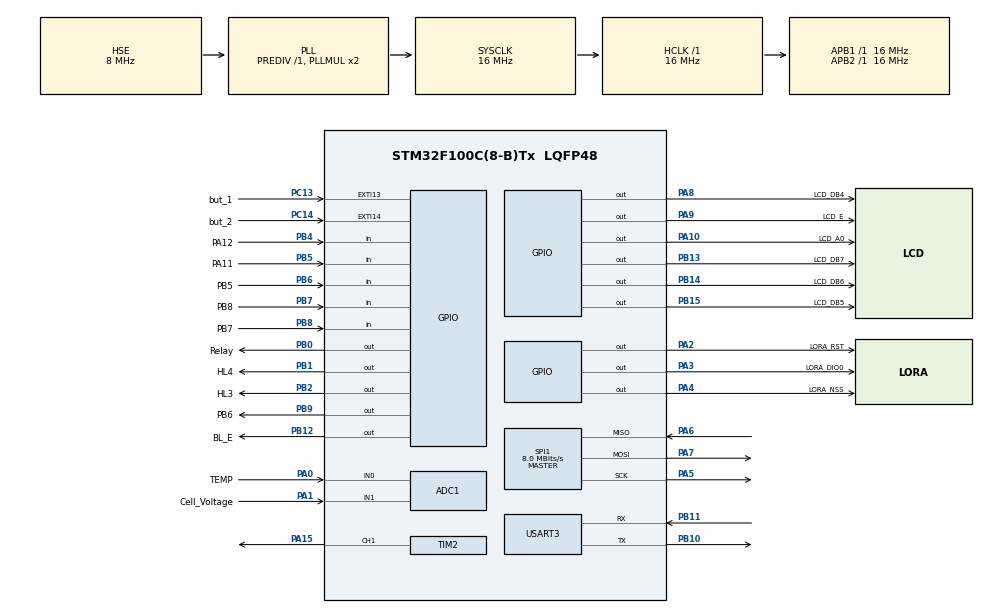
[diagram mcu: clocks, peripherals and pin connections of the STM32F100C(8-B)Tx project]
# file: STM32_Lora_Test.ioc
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ADC1.Channel-7\#ChannelRegularConversion=ADC_CHANNEL_1
ADC1.NbrOfConversionFlag=1
ADC1.Rank-7\#ChannelRegularConversion=1
ADC1.SamplingTime-7\#ChannelRegularConversion=ADC_SAMPLETIME_1CYCLE_5
ADC1.master=1
Mcu.Family=STM32F1
Mcu.Name=STM32F100C(8-B)Tx
Mcu.Package=LQFP48
NVIC.EXTI15_10_IRQn=true\:0\:0\:false\:false\:true\:true\:true
NVIC.PriorityGroup=NVIC_PRIORITYGROUP_4
NVIC.TIM2_IRQn=true\:0\:0\:false\:false\:true\:true\:true
NVIC.TIM4_IRQn=true\:0\:0\:false\:false\:true\:true\:true
PA0-WKUP.GPIO_Label=TEMP
PA0-WKUP.Signal=ADCx_IN0
PA1.GPIO_Label=Cell_Voltage
PA1.Signal=ADCx_IN1
PA10.GPIO_Label=LCD_A0
PA10.Signal=GPIO_Output
PA13.Mode=Serial_Wire
PA13.Signal=SYS_JTMS-SWDIO
PA14.Mode=Serial_Wire
PA14.Signal=SYS_JTCK-SWCLK
PA15.Signal=S_TIM2_CH1_ETR
PA2.GPIO_Label=LORA_RST
PA2.Signal=GPIO_Output
PA3.GPIO_Label=LORA_DIO0
PA3.Signal=GPIO_Output
PA4.GPIO_Label=LORA_NSS
PA4.Signal=GPIO_Output
PA5.Mode=Full_Duplex_Master
PA5.Signal=SPI1_SCK
PA6.Mode=Full_Duplex_Master
PA6.Signal=SPI1_MISO
PA7.Mode=Full_Duplex_Master
PA7.Signal=SPI1_MOSI
PA8.GPIO_Label=LCD_DB4
PA8.Signal=GPIO_Output
PA9.GPIO_Label=LCD_E
PA9.Signal=GPIO_Output
PB0.GPIO_Label=Relay
PB0.Signal=GPIO_Output
PB1.GPIO_Label=HL4
PB1.Signal=GPIO_Output
PB10.Mode=Asynchronous
PB10.Signal=USART3_TX
PB11.Mode=Asynchronous
PB11.Signal=USART3_RX
PB12.GPIO_Label=BL_E
PB12.Signal=GPIO_Output
PB13.GPIO_Label=LCD_DB7
PB13.Signal=GPIO_Output
PB14.GPIO_Label=LCD_DB6
PB14.Signal=GPIO_Output
PB15.GPIO_Label=LCD_DB5
PB15.Signal=GPIO_Output
PB2.GPIO_Label=HL3
PB2.Signal=GPIO_Output
PB4.GPIO_Label=PA12
PB4.Signal=GPIO_Input
PB5.GPIO_Label=PA11
PB5.Signal=GPIO_Input
PB6.GPIO_Label=PB5
PB6.Signal=GPIO_Input
PB7.GPIO_Label=PB8
PB7.Signal=GPIO_Input
PB8.GPIO_Label=PB7
PB8.Signal=GPIO_Input
PB9.GPIO_Label=PB6
PB9.Signal=GPIO_Output
PC13-TAMPER-RTC.GPIO_Label=but_1
PC13-TAMPER-RTC.Signal=GPXTI13
PC14-OSC32_IN.GPIO_Label=but_2
PC14-OSC32_IN.Signal=GPXTI14
PD0-OSC_IN.Mode=HSE-External-Oscillator
PD0-OSC_IN.Signal=RCC_OSC_IN
PD1-OSC_OUT.Mode=HSE-External-Oscillator
PD1-OSC_OUT.Signal=RCC_OSC_OUT
ProjectManager.HeapSize=0x200
ProjectManager.StackSize=0x400
ProjectManager.TargetToolchain=EWARM V8.32
RCC.AHBFreq_Value=16000000
RCC.APB1Freq_Value=16000000
RCC.APB1TimFreq_Value=16000000
RCC.APB2Freq_Value=16000000
RCC.APB2TimFreq_Value=16000000
RCC.HCLKFreq_Value=16000000
RCC.PLLSource=RCC_PLLSOURCE_HSE
RCC.SYSCLKFreq_VALUE=16000000
RCC.SYSCLKSource=RCC_SYSCLKSOURCE_PLLCLK
SH.ADCx_IN0.0=ADC1_IN0,IN0
SH.ADCx_IN1.0=ADC1_IN1,IN1
SH.S_TIM2_CH1_ETR.0=TIM2_CH1,PWM Generation1 CH1
SPI1.CalculateBaudRate=8.0 MBits/s
SPI1.Direction=SPI_DIRECTION_2LINES
SPI1.Mode=SPI_MODE_MASTER
SPI1.VirtualType=VM_MASTER
TIM2.AutoReloadPreload=TIM_AUTORELOAD_PRELOAD_ENABLE
TIM2.Channel-PWM\ Generation1\ CH1=TIM_CHANNEL_1
TIM2.Period=19
TIM2.Prescaler=16000
TIM4.AutoReloadPreload=TIM_AUTORELOAD_PRELOAD_DISABLE
TIM4.Prescaler=15999
TIM4.TIM_MasterOutputTrigger=TIM_TRGO_RESET
USART3.VirtualMode=VM_ASYNC
VP_TIM2_VS_ClockSourceINT.Mode=Internal
VP_TIM4_VS_ClockSourceINT.Mode=Internal
VP_TIM6_VS_ClockSourceINT.Mode=Enable_Timer
board=custom

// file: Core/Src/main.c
/* USER CODE BEGIN Header */
/**
 ******************************************************************************
 * @file           : main.c
 * @brief          : Main program body
 ******************************************************************************
 * @attention
 *
 * <h2><center>&copy; Copyright (c) 2020 STMicroelectronics.
 * All rights reserved.</center></h2>
 *
 * This software component is licensed by ST under BSD 3-Clause license,
 * the "License"; You may not use this file except in compliance with the
 * License. You may obtain a copy of the License at:
 *                        opensource.org/licenses/BSD-3-Clause
 *
 ******************************************************************************
 */
/* USER CODE END Header */
#include "main.h"

/* USER CODE BEGIN PD */
#define MENU_COUNT 4
/* USER CODE END PD */

ADC_HandleTypeDef hadc1;

SPI_HandleTypeDef hspi1;

TIM_HandleTypeDef htim2;
TIM_HandleTypeDef htim4;
TIM_HandleTypeDef htim6;

UART_HandleTypeDef huart3;

/* USER CODE BEGIN PV */
char buffer[512];
/* USER CODE END PV */

void SystemClock_Config(void);
static void MX_GPIO_Init(void);
static void MX_ADC1_Init(void);
static void MX_SPI1_Init(void);
static void MX_TIM2_Init(void);
static void MX_USART3_UART_Init(void);
static void MX_TIM6_Init(void);
static void MX_TIM4_Init(void);
/* USER CODE BEGIN PFP */
inline void Print_Menu(Lcd_HandleTypeDef *lcd, uint8_t page, uint8_t menu);
/* USER CODE END PFP */

/* USER CODE BEGIN 0 */
const char *menu_str[] = {"RX Lora", "TX Lora", "Test Reg", "Menu 4"};
/* USER CODE END 0 */

int main(void) {
	/* USER CODE BEGIN 1 */
	Lcd_PortType ports[] = {GPIOA, GPIOB, GPIOB, GPIOB};

	Lcd_PinType pins[] = {LCD_DB4_Pin, LCD_DB5_Pin, LCD_DB6_Pin, LCD_DB7_Pin};

	Lcd_HandleTypeDef lcd;
	lcd = Lcd_create(ports, pins, GPIOA, LCD_A0_Pin, GPIOA, LCD_E_Pin);

	// menu variables
	const uint8_t page_count = MENU_COUNT / 2 + MENU_COUNT % 2;
	uint8_t page = 1;
	uint8_t menu = 1;

	// lora variables
	int loraStatus = 0;

	int message = 0;
	int message_length = 0;
	/* USER CODE END 1 */

	/* MCU Configuration--------------------------------------------------------*/

	/* Reset of all peripherals, Initializes the Flash interface and the Systick. */
	HAL_Init();

	/* Configure the system clock */
	SystemClock_Config();

	/* Initialize all configured peripherals */
	MX_GPIO_Init();
	MX_ADC1_Init();
	MX_SPI1_Init();
	MX_TIM2_Init();
	MX_USART3_UART_Init();
	MX_TIM6_Init();
	MX_TIM4_Init();
	/* USER CODE BEGIN 2 */

	Lcd_init(&lcd);
	Lcd_clear(&lcd);
	Lcd_disable_cursor(&lcd);

	SX1278_hw_t SX1278_pins;
	SX1278_t SX1278;

	SX1278_pins.dio0.pin = LORA_DIO0_Pin;
	SX1278_pins.dio0.port = LORA_DIO0_GPIO_Port;
	SX1278_pins.nss.pin = LORA_NSS_Pin;
	SX1278_pins.nss.port = LORA_NSS_GPIO_Port;
	SX1278_pins.reset.pin = LORA_RST_Pin;
	SX1278_pins.reset.port = LORA_RST_GPIO_Port;
	SX1278_pins.spi = &hspi1;

	SX1278.hw = &SX1278_pins;

	SX1278_begin(&SX1278, SX1278_433MHZ, SX1278_POWER_17DBM, SX1278_LORA_SF_8, SX1278_LORA_BW_20_8KHZ, 10);

	HAL_TIM_PWM_Start(&htim2, TIM_CHANNEL_1); // for buzzer

	Lcd_cursor(&lcd, 0, 0);
	Lcd_printf(&lcd, "%s", "Lora project v1");
	// buzzer(600, 10);
	HAL_Delay(1000);
	// buzzer(600, 0);
	Print_Menu(&lcd, page, menu);

	/* USER CODE END 2 */

	/* Infinite loop */
	/* USER CODE BEGIN WHILE */

	uint8_t *txBuff = "Hello, from LoRa";

	while (1) {

		if (HAL_GPIO_ReadPin(GPIOC, but_1_Pin)) // change choosing page
		{

			while (HAL_GPIO_ReadPin(GPIOC, but_1_Pin)) {
			}

			// buzzer(600, 4);
			HAL_Delay(20);
			// buzzer(600, 0);
			menu++;

			if (menu > MENU_COUNT) {
				menu = 1;
				page = 1;
			}
			if (page < menu / 2 + menu % 2) {
				page++;
				if (page > page_count)
					page = 1;
			}

			Print_Menu(&lcd, page, menu);

		} else if (HAL_GPIO_ReadPin(GPIOC, but_2_Pin)) // choose menu
		{
			while (HAL_GPIO_ReadPin(GPIOC, but_2_Pin)) {
			}

			switch (menu) {
				case 1:
					loraStatus = SX1278_LoRaEntryRx(&SX1278, 32, 2000);
					HAL_Delay(100);

					while (!(HAL_GPIO_ReadPin(GPIOC, but_1_Pin) && HAL_GPIO_ReadPin(GPIOC, but_2_Pin))) {
						Lcd_clear(&lcd);
						Lcd_cursor(&lcd, 0, 0);

						loraStatus = SX1278_LoRaRxPacket(&SX1278);
						Lcd_printf(&lcd, "Received: %d", loraStatus);
						if (loraStatus > 0) {
							SX1278_read(&SX1278, (uint8_t *)buffer, loraStatus);
							Lcd_cursor(&lcd, 1, 0);
							Lcd_printf(&lcd, "%s", buffer);
						}

						// if (HAL_GPIO_ReadPin(GPIOC, but_1_Pin) && HAL_GPIO_ReadPin(GPIOC, but_2_Pin)) {
						// 	buzzer(600, 4);
						// 	HAL_Delay(100);
						// 	buzzer(600, 0);
						// 	Print_Menu(&lcd, page, menu);
						// 	break;
						// }
						HAL_Delay(500);
					}
					//buzzer(600, 4);
					HAL_Delay(100);
					//buzzer(600, 0);
					Print_Menu(&lcd, page, menu);
					break;
				case 2:
					loraStatus = SX1278_LoRaEntryTx(&SX1278, 32, 2000);
					HAL_Delay(100);

					while (!(HAL_GPIO_ReadPin(GPIOC, but_1_Pin) && HAL_GPIO_ReadPin(GPIOC, but_2_Pin))) {
						Lcd_clear(&lcd);
						Lcd_cursor(&lcd, 0, 0);
						loraStatus = SX1278_LoRaTxPacket(&SX1278, txBuff, 10, 2000);
						Lcd_printf(&lcd, "Transmit: %d", loraStatus);

						Lcd_cursor(&lcd, 1, 0);
						Lcd_printf(&lcd, "%s", txBuff);
						HAL_Delay(500);
					}
					// buzzer(600, 4);
					HAL_Delay(100);
					// buzzer(600, 0);
					Print_Menu(&lcd, page, menu);
					break;
				case 3:
					Lcd_clear(&lcd);
					Lcd_cursor(&lcd, 0, 0);
					uint8_t test = SX1278_SPIRead(&SX1278, 0x42);
					Lcd_printf(&lcd, "Test reg: %d", test);
					break;
			}
		}
		/* USER CODE END WHILE */

	}
}

void SystemClock_Config(void) {
	RCC_OscInitTypeDef RCC_OscInitStruct = {0};
	RCC_ClkInitTypeDef RCC_ClkInitStruct = {0};
	RCC_PeriphCLKInitTypeDef PeriphClkInit = {0};

	/** Initializes the RCC Oscillators according to the specified parameters
	 * in the RCC_OscInitTypeDef structure.
	 */
	RCC_OscInitStruct.OscillatorType = RCC_OSCILLATORTYPE_HSE;
	RCC_OscInitStruct.HSEState = RCC_HSE_ON;
	RCC_OscInitStruct.HSEPredivValue = RCC_HSE_PREDIV_DIV1;
	RCC_OscInitStruct.PLL.PLLState = RCC_PLL_ON;
	RCC_OscInitStruct.PLL.PLLSource = RCC_PLLSOURCE_HSE;
	RCC_OscInitStruct.PLL.PLLMUL = RCC_PLL_MUL2;
	if (HAL_RCC_OscConfig(&RCC_OscInitStruct) != HAL_OK) {
		Error_Handler();
	}
	/** Initializes the CPU, AHB and APB buses clocks
	 */
	RCC_ClkInitStruct.ClockType = RCC_CLOCKTYPE_HCLK | RCC_CLOCKTYPE_SYSCLK | RCC_CLOCKTYPE_PCLK1 | RCC_CLOCKTYPE_PCLK2;
	RCC_ClkInitStruct.SYSCLKSource = RCC_SYSCLKSOURCE_PLLCLK;
	RCC_ClkInitStruct.AHBCLKDivider = RCC_SYSCLK_DIV1;
	RCC_ClkInitStruct.APB1CLKDivider = RCC_HCLK_DIV1;
	RCC_ClkInitStruct.APB2CLKDivider = RCC_HCLK_DIV1;

	if (HAL_RCC_ClockConfig(&RCC_ClkInitStruct, FLASH_LATENCY_0) != HAL_OK) {
		Error_Handler();
	}
	PeriphClkInit.PeriphClockSelection = RCC_PERIPHCLK_ADC;
	PeriphClkInit.AdcClockSelection = RCC_ADCPCLK2_DIV2;
	if (HAL_RCCEx_PeriphCLKConfig(&PeriphClkInit) != HAL_OK) {
		Error_Handler();
	}
}

static void MX_ADC1_Init(void) {

	ADC_ChannelConfTypeDef sConfig = {0};

	/** Common config
	 */
	hadc1.Instance = ADC1;
	hadc1.Init.ScanConvMode = ADC_SCAN_DISABLE;
	hadc1.Init.ContinuousConvMode = DISABLE;
	hadc1.Init.DiscontinuousConvMode = DISABLE;
	hadc1.Init.ExternalTrigConv = ADC_SOFTWARE_START;
	hadc1.Init.DataAlign = ADC_DATAALIGN_RIGHT;
	hadc1.Init.NbrOfConversion = 1;
	if (HAL_ADC_Init(&hadc1) != HAL_OK) {
		Error_Handler();
	}
	/** Configure Regular Channel
	 */
	sConfig.Channel = ADC_CHANNEL_1;
	sConfig.Rank = ADC_REGULAR_RANK_1;
	sConfig.SamplingTime = ADC_SAMPLETIME_1CYCLE_5;
	if (HAL_ADC_ConfigChannel(&hadc1, &sConfig) != HAL_OK) {
		Error_Handler();
	}
}

static void MX_SPI1_Init(void) {

	/* SPI1 parameter configuration*/
	hspi1.Instance = SPI1;
	hspi1.Init.Mode = SPI_MODE_MASTER;
	hspi1.Init.Direction = SPI_DIRECTION_2LINES;
	hspi1.Init.DataSize = SPI_DATASIZE_8BIT;
	hspi1.Init.CLKPolarity = SPI_POLARITY_LOW;
	hspi1.Init.CLKPhase = SPI_PHASE_1EDGE;
	hspi1.Init.NSS = SPI_NSS_SOFT;
	hspi1.Init.BaudRatePrescaler = SPI_BAUDRATEPRESCALER_2;
	hspi1.Init.FirstBit = SPI_FIRSTBIT_MSB;
	hspi1.Init.TIMode = SPI_TIMODE_DISABLE;
	hspi1.Init.CRCCalculation = SPI_CRCCALCULATION_DISABLE;
	hspi1.Init.CRCPolynomial = 10;
	if (HAL_SPI_Init(&hspi1) != HAL_OK) {
		Error_Handler();
	}
}

static void MX_TIM2_Init(void) {

	TIM_ClockConfigTypeDef sClockSourceConfig = {0};
	TIM_MasterConfigTypeDef sMasterConfig = {0};
	TIM_OC_InitTypeDef sConfigOC = {0};

	htim2.Instance = TIM2;
	htim2.Init.Prescaler = 16000;
	htim2.Init.CounterMode = TIM_COUNTERMODE_UP;
	htim2.Init.Period = 19;
	htim2.Init.ClockDivision = TIM_CLOCKDIVISION_DIV1;
	htim2.Init.AutoReloadPreload = TIM_AUTORELOAD_PRELOAD_ENABLE;
	if (HAL_TIM_Base_Init(&htim2) != HAL_OK) {
		Error_Handler();
	}
	sClockSourceConfig.ClockSource = TIM_CLOCKSOURCE_INTERNAL;
	if (HAL_TIM_ConfigClockSource(&htim2, &sClockSourceConfig) != HAL_OK) {
		Error_Handler();
	}
	if (HAL_TIM_PWM_Init(&htim2) != HAL_OK) {
		Error_Handler();
	}
	sMasterConfig.MasterOutputTrigger = TIM_TRGO_RESET;
	sMasterConfig.MasterSlaveMode = TIM_MASTERSLAVEMODE_DISABLE;
	if (HAL_TIMEx_MasterConfigSynchronization(&htim2, &sMasterConfig) != HAL_OK) {
		Error_Handler();
	}
	sConfigOC.OCMode = TIM_OCMODE_PWM1;
	sConfigOC.Pulse = 0;
	sConfigOC.OCPolarity = TIM_OCPOLARITY_HIGH;
	sConfigOC.OCFastMode = TIM_OCFAST_DISABLE;
	if (HAL_TIM_PWM_ConfigChannel(&htim2, &sConfigOC, TIM_CHANNEL_1) != HAL_OK) {
		Error_Handler();
	}
	HAL_TIM_MspPostInit(&htim2);
}

static void MX_TIM4_Init(void) {

	TIM_ClockConfigTypeDef sClockSourceConfig = {0};
	TIM_MasterConfigTypeDef sMasterConfig = {0};

	htim4.Instance = TIM4;
	htim4.Init.Prescaler = 15999;
	htim4.Init.CounterMode = TIM_COUNTERMODE_UP;
	htim4.Init.Period = 65535;
	htim4.Init.ClockDivision = TIM_CLOCKDIVISION_DIV1;
	htim4.Init.AutoReloadPreload = TIM_AUTORELOAD_PRELOAD_DISABLE;
	if (HAL_TIM_Base_Init(&htim4) != HAL_OK) {
		Error_Handler();
	}
	sClockSourceConfig.ClockSource = TIM_CLOCKSOURCE_INTERNAL;
	if (HAL_TIM_ConfigClockSource(&htim4, &sClockSourceConfig) != HAL_OK) {
		Error_Handler();
	}
	sMasterConfig.MasterOutputTrigger = TIM_TRGO_RESET;
	sMasterConfig.MasterSlaveMode = TIM_MASTERSLAVEMODE_DISABLE;
	if (HAL_TIMEx_MasterConfigSynchronization(&htim4, &sMasterConfig) != HAL_OK) {
		Error_Handler();
	}
}

static void MX_TIM6_Init(void) {

	TIM_MasterConfigTypeDef sMasterConfig = {0};

	htim6.Instance = TIM6;
	htim6.Init.Prescaler = 0;
	htim6.Init.CounterMode = TIM_COUNTERMODE_UP;
	htim6.Init.Period = 65535;
	htim6.Init.AutoReloadPreload = TIM_AUTORELOAD_PRELOAD_DISABLE;
	if (HAL_TIM_Base_Init(&htim6) != HAL_OK) {
		Error_Handler();
	}
	sMasterConfig.MasterOutputTrigger = TIM_TRGO_RESET;
	sMasterConfig.MasterSlaveMode = TIM_MASTERSLAVEMODE_DISABLE;
	if (HAL_TIMEx_MasterConfigSynchronization(&htim6, &sMasterConfig) != HAL_OK) {
		Error_Handler();
	}
}

static void MX_USART3_UART_Init(void) {

	huart3.Instance = USART3;
	huart3.Init.BaudRate = 115200;
	huart3.Init.WordLength = UART_WORDLENGTH_8B;
	huart3.Init.StopBits = UART_STOPBITS_1;
	huart3.Init.Parity = UART_PARITY_NONE;
	huart3.Init.Mode = UART_MODE_TX_RX;
	huart3.Init.HwFlowCtl = UART_HWCONTROL_NONE;
	huart3.Init.OverSampling = UART_OVERSAMPLING_16;
	if (HAL_UART_Init(&huart3) != HAL_OK) {
		Error_Handler();
	}
}

static void MX_GPIO_Init(void) {
	GPIO_InitTypeDef GPIO_InitStruct = {0};

	/* GPIO Ports Clock Enable */
	__HAL_RCC_GPIOC_CLK_ENABLE();
	__HAL_RCC_GPIOD_CLK_ENABLE();
	__HAL_RCC_GPIOA_CLK_ENABLE();
	__HAL_RCC_GPIOB_CLK_ENABLE();

	/*Configure GPIO pin Output Level */
	HAL_GPIO_WritePin(GPIOA, LORA_RST_Pin | LORA_DIO0_Pin | LORA_NSS_Pin | LCD_DB4_Pin | LCD_E_Pin | LCD_A0_Pin, GPIO_PIN_RESET);

	/*Configure GPIO pin Output Level */
	HAL_GPIO_WritePin(GPIOB, Relay_Pin | HL4_Pin | HL3_Pin | BL_E_Pin | LCD_DB7_Pin | LCD_DB6_Pin | LCD_DB5_Pin | PB6_Pin, GPIO_PIN_RESET);

	/*Configure GPIO pins : but_1_Pin but_2_Pin */
	GPIO_InitStruct.Pin = but_1_Pin | but_2_Pin;
	GPIO_InitStruct.Mode = GPIO_MODE_IT_RISING;
	GPIO_InitStruct.Pull = GPIO_NOPULL;
	HAL_GPIO_Init(GPIOC, &GPIO_InitStruct);

	/*Configure GPIO pins : LORA_RST_Pin LORA_DIO0_Pin LORA_NSS_Pin LCD_DB4_Pin
							 LCD_E_Pin LCD_A0_Pin */
	GPIO_InitStruct.Pin = LORA_RST_Pin | LORA_DIO0_Pin | LORA_NSS_Pin | LCD_DB4_Pin | LCD_E_Pin | LCD_A0_Pin;
	GPIO_InitStruct.Mode = GPIO_MODE_OUTPUT_PP;
	GPIO_InitStruct.Pull = GPIO_NOPULL;
	GPIO_InitStruct.Speed = GPIO_SPEED_FREQ_LOW;
	HAL_GPIO_Init(GPIOA, &GPIO_InitStruct);

	/*Configure GPIO pins : Relay_Pin HL4_Pin HL3_Pin BL_E_Pin
							 LCD_DB7_Pin LCD_DB6_Pin LCD_DB5_Pin PB6_Pin */
	GPIO_InitStruct.Pin = Relay_Pin | HL4_Pin | HL3_Pin | BL_E_Pin | LCD_DB7_Pin | LCD_DB6_Pin | LCD_DB5_Pin | PB6_Pin;
	GPIO_InitStruct.Mode = GPIO_MODE_OUTPUT_PP;
	GPIO_InitStruct.Pull = GPIO_NOPULL;
	GPIO_InitStruct.Speed = GPIO_SPEED_FREQ_LOW;
	HAL_GPIO_Init(GPIOB, &GPIO_InitStruct);

	/*Configure GPIO pins : PA12_Pin PA11_Pin PB5_Pin PB8_Pin
							 PB7_Pin */
	GPIO_InitStruct.Pin = PA12_Pin | PA11_Pin | PB5_Pin | PB8_Pin | PB7_Pin;
	GPIO_InitStruct.Mode = GPIO_MODE_INPUT;
	GPIO_InitStruct.Pull = GPIO_NOPULL;
	HAL_GPIO_Init(GPIOB, &GPIO_InitStruct);

	/* EXTI interrupt init*/
	HAL_NVIC_SetPriority(EXTI15_10_IRQn, 0, 0);
	HAL_NVIC_EnableIRQ(EXTI15_10_IRQn);
}

/* USER CODE BEGIN 4 */
void Print_Menu(Lcd_HandleTypeDef *lcd, uint8_t page, uint8_t menu) {
	Lcd_clear(lcd);
	Lcd_cursor(lcd, 0, 0);
	Lcd_string(lcd, menu_str[2 * page - 2]);
	Lcd_cursor(lcd, 1, 0);
	Lcd_string(lcd, menu_str[2 * page - 1]);
	Lcd_cursor(lcd, (menu - 1) % 2, 15);
	Lcd_blink(lcd);
}
/* USER CODE END 4 */

void Error_Handler(void) {
	__disable_irq();
	while (1) {
	}
}

/************************ (C) COPYRIGHT STMicroelectronics *****END OF FILE****/
